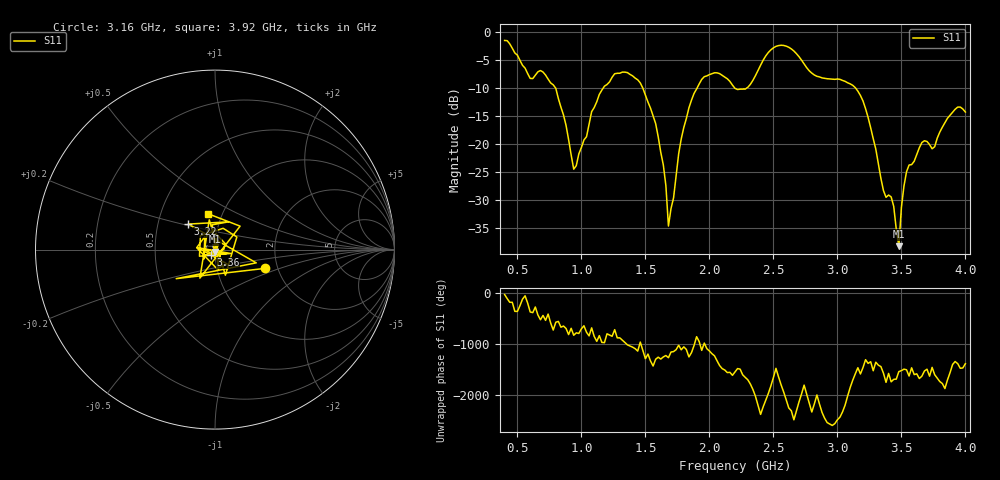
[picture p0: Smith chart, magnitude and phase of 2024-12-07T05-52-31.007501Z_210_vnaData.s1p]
!Created with skrf (http://scikit-rf.org).
# Hz S RI R 50.0
!freq ReS11 ImS11
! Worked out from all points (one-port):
!   181 points, 400 MHz to 4 GHz, reference 50 ohm
!   lowest |S11| = -38.3 dB at 3.48 GHz (marker M1), VSWR 1.02, Z = 49.9 - j1.2 ohm
!   |S11| at or under -10 dB: 797.4 MHz to 1.171 GHz (374.1 MHz wide, 38 % of centre); 1.479 GHz to 1.904 GHz (425.6 MHz wide, 25.2 % of centre); 3.141 GHz to end of sweep (the widest 3 of 4)
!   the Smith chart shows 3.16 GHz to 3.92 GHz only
!   S11 on the Smith chart (normalised r, x): 3.16 GHz: 1.71, -0.39; 3.22 GHz: 0.71, +0.21; 3.36 GHz: 0.95, -0.06; 3.92 GHz: 0.86, +0.36
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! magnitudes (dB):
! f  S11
! 400 MHz  -1.5
! 600 MHz  -8.3
! 720 MHz  -7.7
! 860 MHz  -14.8
! 940 MHz  -24.6
! 1.14 GHz  -11.2
! 1.3 GHz  -7.4
! 1.46 GHz  -9.1
! 1.58 GHz  -16.4
! 1.64 GHz  -23.8
! 1.68 GHz  -34.7
! 1.76 GHz  -21.8
! 1.84 GHz  -13.6
! 1.94 GHz  -8.5
! 2.2 GHz  -10.1
! 2.5 GHz  -2.8
! 2.66 GHz  -3.4
! 3.1 GHz  -9.3
! 3.16 GHz  -10.6
! 3.22 GHz  -13.7
! 3.36 GHz  -28.4
! 3.42 GHz  -29.5
! 3.48 GHz  -38.3
! 3.52 GHz  -27.6
! 3.56 GHz  -23.8
! 3.76 GHz  -20.5
! 3.92 GHz  -13.8
! 4 GHz  -14.3
